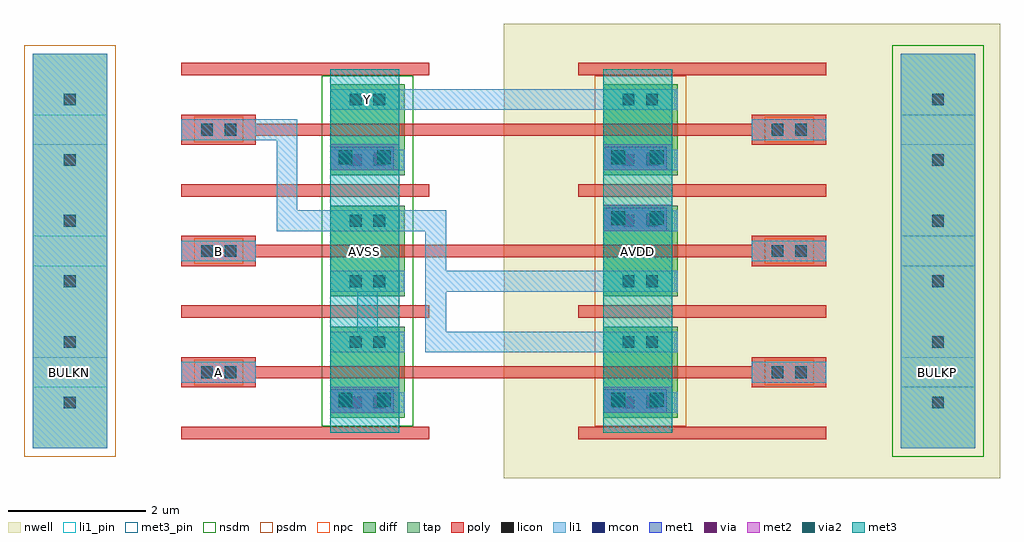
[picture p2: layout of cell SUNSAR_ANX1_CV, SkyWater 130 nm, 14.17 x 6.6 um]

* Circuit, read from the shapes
.subckt SUNSAR_ANX1_CV A AVDD AVSS B BULKN BULKP Y
XM1 SUNSAR_NDX1_CV_0/SUNSAR_NCHDL_0/D A AVSS BULKN sky130_fd_pr__nfet_01v8 w=1.08 l=0.18
XM2 SUNSAR_IVX1_CV_1/A B SUNSAR_NDX1_CV_0/SUNSAR_NCHDL_0/D BULKN sky130_fd_pr__nfet_01v8 w=1.08 l=0.18
XM3 Y SUNSAR_IVX1_CV_1/A AVSS BULKN sky130_fd_pr__nfet_01v8 w=1.08 l=0.18
XM4 SUNSAR_IVX1_CV_1/A A AVDD BULKP sky130_fd_pr__pfet_01v8 w=1.08 l=0.18
XM5 AVDD B SUNSAR_IVX1_CV_1/A BULKP sky130_fd_pr__pfet_01v8 w=1.08 l=0.18
XM6 Y SUNSAR_IVX1_CV_1/A AVDD BULKP sky130_fd_pr__pfet_01v8 w=1.08 l=0.18
.ends

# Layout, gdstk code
import gdstk
lib = gdstk.Library(unit=1e-6, precision=1e-09)
def R(c, l, rs):  # rectangles x0, y0, x1, y1
    for r in rs: c.add(gdstk.rectangle(r[:2], r[2:], *l))
def A(c, l, x, y, w, h, nx, ny, dx, dy):  # array of equal rectangles
    R(c, l, [(x+i*dx, y+j*dy, x+i*dx+w, y+j*dy+h) for i in range(nx) for j in range(ny)])
nwell = (64, 20)
diff = (65, 20)
tap = (65, 44)
poly = (66, 20)
licon = (66, 44)
li1_pin = (67, 16)
li1 = (67, 20)
mcon = (67, 44)
met1 = (68, 20)
via = (68, 44)
met2 = (69, 20)
via2 = (69, 44)
met3_pin = (70, 16)
met3 = (70, 20)
nsdm = (93, 44)
psdm = (94, 20)
npc = (95, 20)

sunsar_nchdl = lib.new_cell('SUNSAR_NCHDL')
R(sunsar_nchdl, diff, [(3.78,0.22,4.86,1.54)])
R(sunsar_nchdl, tap, [(-0.54,-0.22,0.54,1.98)])
A(sunsar_nchdl, poly, 1.62, -0.09, 3.6, 0.18, 1, 3, 0, 0.88)
R(sunsar_nchdl, poly, [(1.62,0.66,2.7,0.79), (1.62,0.97,2.7,1.1)])
R(sunsar_nchdl, licon, [(-0.085,0.355,0.085,0.525), (4.065,0.355,4.235,0.525), (4.405,0.355,4.575,0.525), (1.905,0.795,2.075,0.965), (2.245,0.795,2.415,0.965), (-0.085,1.235,0.085,1.405), (4.065,1.235,4.235,1.405), (4.405,1.235,4.575,1.405)])
R(sunsar_nchdl, li1_pin, [(3.78,0.29,4.86,0.59), (-0.54,0.66,0.54,1.1), (1.62,0.73,2.7,1.03), (3.78,1.17,4.86,1.47)])
R(sunsar_nchdl, li1, [(-0.54,-0.22,0.54,1.98), (3.78,0.29,4.86,0.59), (1.62,0.73,2.7,1.03), (3.78,1.17,4.86,1.47)])
R(sunsar_nchdl, nsdm, [(3.655,0.095,4.985,1.665)])
R(sunsar_nchdl, psdm, [(-0.665,-0.345,0.665,2.105)])
R(sunsar_nchdl, npc, [(1.805,0.695,2.515,1.065)])
sunsar_nchdl.add(gdstk.Label('D', (4.32,1.32), layer=67, texttype=5))
sunsar_nchdl.add(gdstk.Label('G', (2.16,0.88), layer=67, texttype=5))
sunsar_nchdl.add(gdstk.Label('S', (4.32,0.44), layer=67, texttype=5))
sunsar_nchdl.add(gdstk.Label('B', (0,0.88), layer=67, texttype=5))

sunsar_pchdl = lib.new_cell('SUNSAR_PCHDL')
R(sunsar_pchdl, nwell, [(0,-0.66,7.2,2.42)])
R(sunsar_pchdl, diff, [(1.44,0.22,2.52,1.54)])
R(sunsar_pchdl, tap, [(5.76,-0.22,6.84,1.98)])
A(sunsar_pchdl, poly, 1.08, -0.09, 3.6, 0.18, 1, 3, 0, 0.88)
R(sunsar_pchdl, poly, [(3.6,0.66,4.68,0.79), (3.6,0.97,4.68,1.1)])
R(sunsar_pchdl, licon, [(1.725,0.355,1.895,0.525), (2.065,0.355,2.235,0.525), (6.215,0.355,6.385,0.525), (3.885,0.795,4.055,0.965), (4.225,0.795,4.395,0.965), (1.725,1.235,1.895,1.405), (2.065,1.235,2.235,1.405), (6.215,1.235,6.385,1.405)])
R(sunsar_pchdl, li1_pin, [(1.44,0.29,2.52,0.59), (5.76,0.66,6.84,1.1), (3.6,0.73,4.68,1.03), (1.44,1.17,2.52,1.47)])
R(sunsar_pchdl, li1, [(5.76,-0.22,6.84,1.98), (1.44,0.29,2.52,0.59), (3.6,0.73,4.68,1.03), (1.44,1.17,2.52,1.47)])
R(sunsar_pchdl, nsdm, [(5.635,-0.345,6.965,2.105)])
R(sunsar_pchdl, psdm, [(1.315,0.095,2.645,1.665)])
R(sunsar_pchdl, npc, [(3.785,0.695,4.495,1.065)])
sunsar_pchdl.add(gdstk.Label('D', (1.98,1.32), layer=67, texttype=5))
sunsar_pchdl.add(gdstk.Label('G', (4.14,0.88), layer=67, texttype=5))
sunsar_pchdl.add(gdstk.Label('S', (1.98,0.44), layer=67, texttype=5))
sunsar_pchdl.add(gdstk.Label('B', (6.3,0.88), layer=67, texttype=5))

sunsar_cut_m1m4_2x1 = lib.new_cell('SUNSAR_cut_M1M4_2x1')
R(sunsar_cut_m1m4_2x1, li1, [(0,0,0.92,0.34)])
R(sunsar_cut_m1m4_2x1, mcon, [(0.115,0.085,0.285,0.255), (0.635,0.085,0.805,0.255)])
R(sunsar_cut_m1m4_2x1, met1, [(0,0,0.92,0.34)])
R(sunsar_cut_m1m4_2x1, via, [(0.125,0.095,0.275,0.245), (0.645,0.095,0.795,0.245)])
R(sunsar_cut_m1m4_2x1, met2, [(0,0,1,0.38)])
R(sunsar_cut_m1m4_2x1, via2, [(0.12,0.09,0.32,0.29), (0.68,0.09,0.88,0.29)])
R(sunsar_cut_m1m4_2x1, met3, [(0,0,1,0.38)])

sunsar_ndx1_cv = lib.new_cell('SUNSAR_NDX1_CV')
R(sunsar_ndx1_cv, poly, [(1.62,0.79,10.98,0.97), (1.62,2.55,10.98,2.73)])
R(sunsar_ndx1_cv, li1_pin, [(-0.54,0.66,0.54,1.1), (12.06,0.66,13.14,1.1), (1.62,0.73,2.7,1.03), (1.62,2.49,2.7,2.79), (3.78,2.93,4.86,3.23)])
R(sunsar_ndx1_cv, li1, [(-0.54,0.66,0.54,1.1), (12.06,0.66,13.14,1.1), (1.62,0.73,2.7,1.03), (4.17,1.17,4.47,2.35), (5.16,1.17,8.28,1.47), (5.16,1.47,5.46,2.05), (5.16,2.05,8.28,2.35), (5.16,2.35,5.46,2.93), (1.62,2.49,2.7,2.79), (3.78,2.93,5.46,3.23)])
R(sunsar_ndx1_cv, met3_pin, [(3.78,0,4.78,3.52), (7.74,0,8.74,3.52)])
R(sunsar_ndx1_cv, met3, [(3.78,0,4.78,3.52), (7.74,0,8.74,3.52)])
R(sunsar_ndx1_cv, nsdm, [(3.655,1.665,4.985,1.855)])
R(sunsar_ndx1_cv, psdm, [(7.615,1.665,8.945,1.855)])
sunsar_ndx1_cv.add(gdstk.Reference(sunsar_nchdl, (0,0)))
sunsar_ndx1_cv.add(gdstk.Reference(sunsar_nchdl, (0,1.76)))
sunsar_ndx1_cv.add(gdstk.Reference(sunsar_pchdl, (6.3,0)))
sunsar_ndx1_cv.add(gdstk.Reference(sunsar_pchdl, (6.3,1.76)))
sunsar_ndx1_cv.add(gdstk.Reference(sunsar_cut_m1m4_2x1, (7.74,0.29)))
sunsar_ndx1_cv.add(gdstk.Reference(sunsar_cut_m1m4_2x1, (7.74,2.93)))
sunsar_ndx1_cv.add(gdstk.Reference(sunsar_cut_m1m4_2x1, (3.78,0.29)))
sunsar_ndx1_cv.add(gdstk.Label('A', (2.16,0.88), layer=67, texttype=5))
sunsar_ndx1_cv.add(gdstk.Label('B', (2.16,2.64), layer=67, texttype=5))
sunsar_ndx1_cv.add(gdstk.Label('Y', (4.32,3.08), layer=67, texttype=5))
sunsar_ndx1_cv.add(gdstk.Label('BULKP', (12.6,0.88), layer=67, texttype=5))
sunsar_ndx1_cv.add(gdstk.Label('BULKN', (0,0.88), layer=67, texttype=5))
sunsar_ndx1_cv.add(gdstk.Label('AVDD', (8.24,1.76), layer=70, texttype=5))
sunsar_ndx1_cv.add(gdstk.Label('AVSS', (4.28,1.76), layer=70, texttype=5))

sunsar_ivx1_cv = lib.new_cell('SUNSAR_IVX1_CV')
R(sunsar_ivx1_cv, poly, [(1.62,0.79,10.98,0.97)])
R(sunsar_ivx1_cv, li1_pin, [(-0.54,0.66,0.54,1.1), (12.06,0.66,13.14,1.1), (1.62,0.73,2.7,1.03), (3.78,1.17,4.86,1.47)])
R(sunsar_ivx1_cv, li1, [(-0.54,0.66,0.54,1.1), (12.06,0.66,13.14,1.1), (1.62,0.73,2.7,1.03), (3.78,1.17,8.28,1.47)])
R(sunsar_ivx1_cv, met3_pin, [(3.78,0,4.78,1.76), (7.74,0,8.74,1.76)])
R(sunsar_ivx1_cv, met3, [(3.78,0,4.78,1.76), (7.74,0,8.74,1.76)])
sunsar_ivx1_cv.add(gdstk.Reference(sunsar_nchdl, (0,0)))
sunsar_ivx1_cv.add(gdstk.Reference(sunsar_pchdl, (6.3,0)))
sunsar_ivx1_cv.add(gdstk.Reference(sunsar_cut_m1m4_2x1, (7.74,0.29)))
sunsar_ivx1_cv.add(gdstk.Reference(sunsar_cut_m1m4_2x1, (3.78,0.29)))
sunsar_ivx1_cv.add(gdstk.Label('A', (2.16,0.88), layer=67, texttype=5))
sunsar_ivx1_cv.add(gdstk.Label('Y', (4.32,1.32), layer=67, texttype=5))
sunsar_ivx1_cv.add(gdstk.Label('BULKP', (12.6,0.88), layer=67, texttype=5))
sunsar_ivx1_cv.add(gdstk.Label('BULKN', (0,0.88), layer=67, texttype=5))
sunsar_ivx1_cv.add(gdstk.Label('AVDD', (8.24,0.88), layer=70, texttype=5))
sunsar_ivx1_cv.add(gdstk.Label('AVSS', (4.28,0.88), layer=70, texttype=5))

sunsar_anx1_cv = lib.new_cell('SUNSAR_ANX1_CV')
R(sunsar_anx1_cv, li1_pin, [(-0.54,0.66,0.54,1.1), (12.06,0.66,13.14,1.1), (1.62,0.73,2.7,1.03), (1.62,2.49,2.7,2.79), (3.78,4.69,4.86,4.99)])
R(sunsar_anx1_cv, li1, [(-0.54,0.66,0.54,1.1), (12.06,0.66,13.14,1.1), (1.62,0.73,2.7,1.03), (1.62,2.49,2.7,2.79), (3,2.93,4.32,3.23), (3,3.23,3.3,4.25), (2.16,4.25,3.3,4.55), (3.78,4.69,4.86,4.99)])
R(sunsar_anx1_cv, met3_pin, [(3.78,0,4.78,5.28), (7.74,0,8.74,5.28)])
R(sunsar_anx1_cv, met3, [(3.78,0,4.78,5.28), (7.74,0,8.74,5.28)])
R(sunsar_anx1_cv, nsdm, [(3.655,3.425,4.985,3.615)])
R(sunsar_anx1_cv, psdm, [(7.615,3.425,8.945,3.615)])
sunsar_anx1_cv.add(gdstk.Reference(sunsar_ndx1_cv, (0,0)))
sunsar_anx1_cv.add(gdstk.Reference(sunsar_ivx1_cv, (0,3.52)))
sunsar_anx1_cv.add(gdstk.Label('A', (2.16,0.88), layer=67, texttype=5))
sunsar_anx1_cv.add(gdstk.Label('B', (2.16,2.64), layer=67, texttype=5))
sunsar_anx1_cv.add(gdstk.Label('Y', (4.32,4.84), layer=67, texttype=5))
sunsar_anx1_cv.add(gdstk.Label('BULKP', (12.6,0.88), layer=67, texttype=5))
sunsar_anx1_cv.add(gdstk.Label('BULKN', (0,0.88), layer=67, texttype=5))
sunsar_anx1_cv.add(gdstk.Label('AVDD', (8.24,2.64), layer=70, texttype=5))
sunsar_anx1_cv.add(gdstk.Label('AVSS', (4.28,2.64), layer=70, texttype=5))

lib.write_gds('SUNSAR_ANX1_CV.gds')
